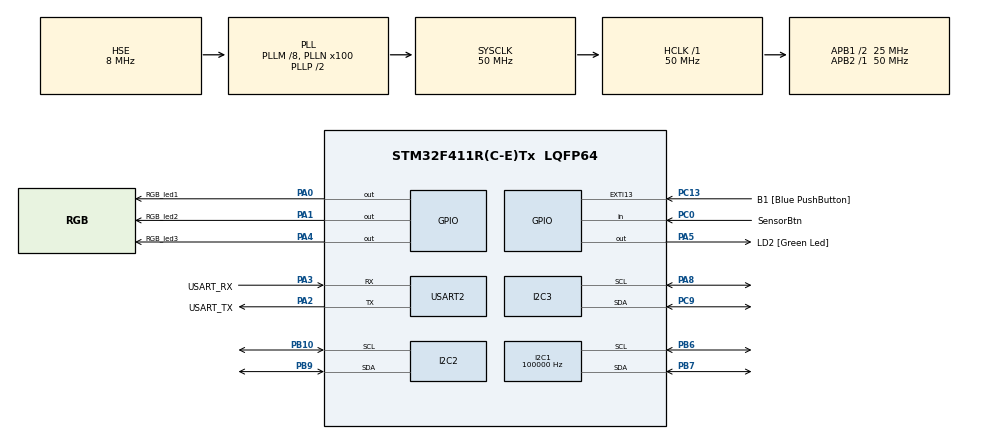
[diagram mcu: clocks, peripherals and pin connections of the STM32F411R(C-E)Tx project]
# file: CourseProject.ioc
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Dma.I2C1_RX.1.Direction=DMA_PERIPH_TO_MEMORY
Dma.I2C1_RX.1.FIFOMode=DMA_FIFOMODE_DISABLE
Dma.I2C1_RX.1.Instance=DMA1_Stream0
Dma.I2C1_RX.1.MemDataAlignment=DMA_MDATAALIGN_BYTE
Dma.I2C1_RX.1.MemInc=DMA_MINC_ENABLE
Dma.I2C1_RX.1.Mode=DMA_NORMAL
Dma.I2C1_RX.1.PeriphDataAlignment=DMA_PDATAALIGN_BYTE
Dma.I2C1_RX.1.PeriphInc=DMA_PINC_DISABLE
Dma.I2C1_RX.1.Priority=DMA_PRIORITY_LOW
Dma.I2C1_TX.0.Direction=DMA_MEMORY_TO_PERIPH
Dma.I2C1_TX.0.FIFOMode=DMA_FIFOMODE_DISABLE
Dma.I2C1_TX.0.Instance=DMA1_Stream1
Dma.I2C1_TX.0.MemDataAlignment=DMA_MDATAALIGN_BYTE
Dma.I2C1_TX.0.MemInc=DMA_MINC_ENABLE
Dma.I2C1_TX.0.Mode=DMA_NORMAL
Dma.I2C1_TX.0.PeriphDataAlignment=DMA_PDATAALIGN_BYTE
Dma.I2C1_TX.0.PeriphInc=DMA_PINC_DISABLE
Dma.I2C1_TX.0.Priority=DMA_PRIORITY_LOW
Dma.Request0=I2C1_TX
Dma.Request1=I2C1_RX
FREERTOS.INCLUDE_vTaskDelayUntil=1
FREERTOS.Tasks01=defaultTask,0,128,StartDefaultTask,Default,NULL,Dynamic,NULL,NULL;printLcdTask,0,128,StartLcdTask,Default,NULL,Dynamic,NULL,NULL;checkDataSensor,0,128,StartDataSensor,Default,NULL,Dynamic,NULL,NULL;myBtnTask,0,128,StartBtnTask,Default,NULL,Dynamic,NULL,NULL;myPrintTime,0,128,StartTimeTask,Default,NULL,Dynamic,NULL,NULL;myStatusTemp,0,128,StartStatusTemp,Default,NULL,Dynamic,NULL,NULL
I2C1.ClockSpeed=100000
Mcu.Family=STM32F4
Mcu.Name=STM32F411R(C-E)Tx
Mcu.Package=LQFP64
NVIC.DMA1_Stream0_IRQn=true\:5\:0\:false\:false\:true\:true\:false\:true
NVIC.DMA1_Stream1_IRQn=true\:5\:0\:false\:false\:true\:true\:false\:true
NVIC.I2C1_ER_IRQn=true\:5\:0\:false\:false\:true\:true\:true\:true
NVIC.I2C1_EV_IRQn=true\:5\:0\:false\:false\:true\:true\:true\:true
NVIC.PriorityGroup=NVIC_PRIORITYGROUP_4
PA0-WKUP.GPIO_Label=RGB_led1
PA0-WKUP.Signal=GPIO_Output
PA1.GPIO_Label=RGB_led2
PA1.Signal=GPIO_Output
PA13.GPIO_Label=TMS
PA13.Mode=Serial_Wire
PA13.Signal=SYS_JTMS-SWDIO
PA14.GPIO_Label=TCK
PA14.Mode=Serial_Wire
PA14.Signal=SYS_JTCK-SWCLK
PA2.GPIO_Label=USART_TX
PA2.Mode=Asynchronous
PA2.Signal=USART2_TX
PA3.GPIO_Label=USART_RX
PA3.Mode=Asynchronous
PA3.Signal=USART2_RX
PA4.GPIO_Label=RGB_led3
PA4.Signal=GPIO_Output
PA5.GPIO_Label=LD2 [Green Led]
PA5.Signal=GPIO_Output
PA8.Mode=I2C
PA8.Signal=I2C3_SCL
PB10.Mode=I2C
PB10.Signal=I2C2_SCL
PB3.GPIO_Label=SWO
PB3.Signal=SYS_JTDO-SWO
PB6.Mode=I2C
PB6.Signal=I2C1_SCL
PB7.Mode=I2C
PB7.Signal=I2C1_SDA
PB9.Mode=I2C
PB9.Signal=I2C2_SDA
PC0.GPIO_Label=SensorBtn
PC0.Signal=GPIO_Input
PC13-ANTI_TAMP.GPIO_Label=B1 [Blue PushButton]
PC13-ANTI_TAMP.GPIO_ModeDefaultEXTI=GPIO_MODE_IT_FALLING
PC13-ANTI_TAMP.Signal=GPXTI13
PC14-OSC32_IN.Signal=RCC_OSC32_IN
PC15-OSC32_OUT.Signal=RCC_OSC32_OUT
PC9.Mode=I2C
PC9.Signal=I2C3_SDA
PH0\ -\ OSC_IN.Mode=HSE-External-Oscillator
PH0\ -\ OSC_IN.Signal=RCC_OSC_IN
PH1\ -\ OSC_OUT.Mode=HSE-External-Oscillator
PH1\ -\ OSC_OUT.Signal=RCC_OSC_OUT
ProjectManager.HeapSize=0x200
ProjectManager.StackSize=0x400
ProjectManager.TargetToolchain=STM32CubeIDE
RCC.48MHZClocksFreq_Value=25000000
RCC.AHBFreq_Value=50000000
RCC.APB1CLKDivider=RCC_HCLK_DIV2
RCC.APB1Freq_Value=25000000
RCC.APB1TimFreq_Value=50000000
RCC.APB2Freq_Value=50000000
RCC.APB2TimFreq_Value=50000000
RCC.CortexFreq_Value=50000000
RCC.FLatency-AdvancedSettings=FLASH_LATENCY_1
RCC.HCLKFreq_Value=50000000
RCC.HSE_VALUE=8000000
RCC.HSI_VALUE=16000000
RCC.PLLM=8
RCC.PLLN=100
RCC.PLLSourceVirtual=RCC_PLLSOURCE_HSE
RCC.SYSCLKFreq_VALUE=50000000
RCC.SYSCLKSource=RCC_SYSCLKSOURCE_PLLCLK
RCC.VCOOutputFreq_Value=100000000
USART2.VirtualMode=VM_ASYNC
VP_FREERTOS_VS_CMSIS_V1.Mode=CMSIS_V1
board=NUCLEO-F411RE

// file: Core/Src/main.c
/* USER CODE BEGIN Header */
/**
  ******************************************************************************
  * @file           : main.c
  * @brief          : Main program body
  ******************************************************************************
  * @attention
  *
  * <h2><center>&copy; Copyright (c) 2020 STMicroelectronics.
  * All rights reserved.</center></h2>
  *
  * This software component is licensed by ST under BSD 3-Clause license,
  * the "License"; You may not use this file except in compliance with the
  * License. You may obtain a copy of the License at:
  *                        opensource.org/licenses/BSD-3-Clause
  *
  ******************************************************************************
  */
/* USER CODE END Header */

#include "main.h"
#include "cmsis_os.h"

/* USER CODE BEGIN Includes */
#include "stdio.h"
#include "stdlib.h"
#include "math.h"
#include "lcd_hd44780_i2c.h"
#include "DS3231.h"
#include "bmp280.h"
/* USER CODE END Includes */

I2C_HandleTypeDef hi2c1;
I2C_HandleTypeDef hi2c2;
I2C_HandleTypeDef hi2c3;
DMA_HandleTypeDef hdma_i2c1_tx;
DMA_HandleTypeDef hdma_i2c1_rx;

UART_HandleTypeDef huart2;

osThreadId defaultTaskHandle;
osThreadId printLcdTaskHandle;
osThreadId checkDataSensorHandle;
osThreadId myBtnTaskHandle;
osThreadId myPrintTimeHandle;
osThreadId myStatusTempHandle;
/* USER CODE BEGIN PV */
BMP280_HandleTypedef bmp280;

int fPartTemp;
int sPartTemp;
int fPartPressure;
int fHumidity;
int numTask = 0;

float pressure;
float temperature;
float humidity;
float MMPressure;

char buffer[15];
char TempFirstPart[] = "";
char TempSecondPart[] = "";
char PressureStr[] = "";
char HumidityStr[] = "";

uint8_t Data[256];
uint8_t bmeStr[] = "BME280";
uint8_t bmpStr[] = "BMP280";

uint16_t size;
/* USER CODE END PV */

void SystemClock_Config(void);
static void MX_GPIO_Init(void);
static void MX_DMA_Init(void);
static void MX_USART2_UART_Init(void);
static void MX_I2C1_Init(void);
static void MX_I2C2_Init(void);
static void MX_I2C3_Init(void);
void StartDefaultTask(void const * argument);
void StartLcdTask(void const * argument);
void StartDataSensor(void const * argument);
void StartBtnTask(void const * argument);
void StartTimeTask(void const * argument);
void StartStatusTemp(void const * argument);

/* USER CODE BEGIN PFP */
void initBME280(I2C_HandleTypeDef *i2c);
void checkBME280(void);
void convertData(void);
/* USER CODE END PFP */

int main(void)
{

  /* MCU Configuration--------------------------------------------------------*/

  /* Reset of all peripherals, Initializes the Flash interface and the Systick. */
  HAL_Init();

  /* Configure the system clock */
  SystemClock_Config();

  /* Initialize all configured peripherals */
  MX_GPIO_Init();
  MX_DMA_Init();
  MX_USART2_UART_Init();
  MX_I2C1_Init();
  MX_I2C2_Init();
  MX_I2C3_Init();
  /* USER CODE BEGIN 2 */

  /* Use if you want to change start time and date */
  /* setTime(20, 35, 14, 7, 31, 5, 20, &hi2c3); */

  /* USER CODE END 2 */

  /* Create the thread(s) */
  /* definition and creation of defaultTask */
  osThreadDef(defaultTask, StartDefaultTask, osPriorityNormal, 0, 128);
  defaultTaskHandle = osThreadCreate(osThread(defaultTask), NULL);

  /* definition and creation of printLcdTask */
  osThreadDef(printLcdTask, StartLcdTask, osPriorityNormal, 0, 128);
  printLcdTaskHandle = osThreadCreate(osThread(printLcdTask), NULL);

  /* definition and creation of checkDataSensor */
  osThreadDef(checkDataSensor, StartDataSensor, osPriorityNormal, 0, 128);
  checkDataSensorHandle = osThreadCreate(osThread(checkDataSensor), NULL);

  /* definition and creation of myBtnTask */
  osThreadDef(myBtnTask, StartBtnTask, osPriorityNormal, 0, 128);
  myBtnTaskHandle = osThreadCreate(osThread(myBtnTask), NULL);

  /* definition and creation of myPrintTime */
  osThreadDef(myPrintTime, StartTimeTask, osPriorityNormal, 0, 128);
  myPrintTimeHandle = osThreadCreate(osThread(myPrintTime), NULL);

  /* definition and creation of myStatusTemp */
  osThreadDef(myStatusTemp, StartStatusTemp, osPriorityNormal, 0, 128);
  myStatusTempHandle = osThreadCreate(osThread(myStatusTemp), NULL);

  /* USER CODE BEGIN RTOS_THREADS */
  /* add threads, ... */
  vTaskSuspend(myPrintTimeHandle);
  vTaskSuspend(checkDataSensorHandle);
  /* USER CODE END RTOS_THREADS */

  /* Start scheduler */
  osKernelStart();

  /* We should never get here as control is now taken by the scheduler */

  /* Infinite loop */
  while (1)
  {

  }
}

void SystemClock_Config(void)
{
  RCC_OscInitTypeDef RCC_OscInitStruct = {0};
  RCC_ClkInitTypeDef RCC_ClkInitStruct = {0};

  /** Configure the main internal regulator output voltage
  */
  __HAL_RCC_PWR_CLK_ENABLE();
  __HAL_PWR_VOLTAGESCALING_CONFIG(PWR_REGULATOR_VOLTAGE_SCALE1);
  /** Initializes the CPU, AHB and APB busses clocks
  */
  RCC_OscInitStruct.OscillatorType = RCC_OSCILLATORTYPE_HSE;
  RCC_OscInitStruct.HSEState = RCC_HSE_ON;
  RCC_OscInitStruct.PLL.PLLState = RCC_PLL_ON;
  RCC_OscInitStruct.PLL.PLLSource = RCC_PLLSOURCE_HSE;
  RCC_OscInitStruct.PLL.PLLM = 8;
  RCC_OscInitStruct.PLL.PLLN = 100;
  RCC_OscInitStruct.PLL.PLLP = RCC_PLLP_DIV2;
  RCC_OscInitStruct.PLL.PLLQ = 4;
  if (HAL_RCC_OscConfig(&RCC_OscInitStruct) != HAL_OK)
  {
    Error_Handler();
  }
  /** Initializes the CPU, AHB and APB busses clocks
  */
  RCC_ClkInitStruct.ClockType = RCC_CLOCKTYPE_HCLK|RCC_CLOCKTYPE_SYSCLK
                              |RCC_CLOCKTYPE_PCLK1|RCC_CLOCKTYPE_PCLK2;
  RCC_ClkInitStruct.SYSCLKSource = RCC_SYSCLKSOURCE_PLLCLK;
  RCC_ClkInitStruct.AHBCLKDivider = RCC_SYSCLK_DIV1;
  RCC_ClkInitStruct.APB1CLKDivider = RCC_HCLK_DIV2;
  RCC_ClkInitStruct.APB2CLKDivider = RCC_HCLK_DIV1;

  if (HAL_RCC_ClockConfig(&RCC_ClkInitStruct, FLASH_LATENCY_1) != HAL_OK)
  {
    Error_Handler();
  }
}

static void MX_I2C1_Init(void)
{

  hi2c1.Instance = I2C1;
  hi2c1.Init.ClockSpeed = 100000;
  hi2c1.Init.DutyCycle = I2C_DUTYCYCLE_2;
  hi2c1.Init.OwnAddress1 = 0;
  hi2c1.Init.AddressingMode = I2C_ADDRESSINGMODE_7BIT;
  hi2c1.Init.DualAddressMode = I2C_DUALADDRESS_DISABLE;
  hi2c1.Init.OwnAddress2 = 0;
  hi2c1.Init.GeneralCallMode = I2C_GENERALCALL_DISABLE;
  hi2c1.Init.NoStretchMode = I2C_NOSTRETCH_DISABLE;
  if (HAL_I2C_Init(&hi2c1) != HAL_OK)
  {
    Error_Handler();
  }

}

static void MX_I2C2_Init(void)
{

  hi2c2.Instance = I2C2;
  hi2c2.Init.ClockSpeed = 100000;
  hi2c2.Init.DutyCycle = I2C_DUTYCYCLE_2;
  hi2c2.Init.OwnAddress1 = 0;
  hi2c2.Init.AddressingMode = I2C_ADDRESSINGMODE_7BIT;
  hi2c2.Init.DualAddressMode = I2C_DUALADDRESS_DISABLE;
  hi2c2.Init.OwnAddress2 = 0;
  hi2c2.Init.GeneralCallMode = I2C_GENERALCALL_DISABLE;
  hi2c2.Init.NoStretchMode = I2C_NOSTRETCH_DISABLE;
  if (HAL_I2C_Init(&hi2c2) != HAL_OK)
  {
    Error_Handler();
  }

}

static void MX_I2C3_Init(void)
{

  hi2c3.Instance = I2C3;
  hi2c3.Init.ClockSpeed = 100000;
  hi2c3.Init.DutyCycle = I2C_DUTYCYCLE_2;
  hi2c3.Init.OwnAddress1 = 0;
  hi2c3.Init.AddressingMode = I2C_ADDRESSINGMODE_7BIT;
  hi2c3.Init.DualAddressMode = I2C_DUALADDRESS_DISABLE;
  hi2c3.Init.OwnAddress2 = 0;
  hi2c3.Init.GeneralCallMode = I2C_GENERALCALL_DISABLE;
  hi2c3.Init.NoStretchMode = I2C_NOSTRETCH_DISABLE;
  if (HAL_I2C_Init(&hi2c3) != HAL_OK)
  {
    Error_Handler();
  }

}

static void MX_USART2_UART_Init(void)
{

  huart2.Instance = USART2;
  huart2.Init.BaudRate = 115200;
  huart2.Init.WordLength = UART_WORDLENGTH_8B;
  huart2.Init.StopBits = UART_STOPBITS_1;
  huart2.Init.Parity = UART_PARITY_NONE;
  huart2.Init.Mode = UART_MODE_TX_RX;
  huart2.Init.HwFlowCtl = UART_HWCONTROL_NONE;
  huart2.Init.OverSampling = UART_OVERSAMPLING_16;
  if (HAL_UART_Init(&huart2) != HAL_OK)
  {
    Error_Handler();
  }

}

static void MX_DMA_Init(void)
{

  /* DMA controller clock enable */
  __HAL_RCC_DMA1_CLK_ENABLE();

  /* DMA interrupt init */
  /* DMA1_Stream0_IRQn interrupt configuration */
  HAL_NVIC_SetPriority(DMA1_Stream0_IRQn, 5, 0);
  HAL_NVIC_EnableIRQ(DMA1_Stream0_IRQn);
  /* DMA1_Stream1_IRQn interrupt configuration */
  HAL_NVIC_SetPriority(DMA1_Stream1_IRQn, 5, 0);
  HAL_NVIC_EnableIRQ(DMA1_Stream1_IRQn);

}

static void MX_GPIO_Init(void)
{
  GPIO_InitTypeDef GPIO_InitStruct = {0};

  /* GPIO Ports Clock Enable */
  __HAL_RCC_GPIOC_CLK_ENABLE();
  __HAL_RCC_GPIOH_CLK_ENABLE();
  __HAL_RCC_GPIOA_CLK_ENABLE();
  __HAL_RCC_GPIOB_CLK_ENABLE();

  /*Configure GPIO pin Output Level */
  HAL_GPIO_WritePin(GPIOA, RGB_led1_Pin|RGB_led2_Pin|RGB_led3_Pin|LD2_Pin, GPIO_PIN_RESET);

  /*Configure GPIO pin : B1_Pin */
  GPIO_InitStruct.Pin = B1_Pin;
  GPIO_InitStruct.Mode = GPIO_MODE_IT_FALLING;
  GPIO_InitStruct.Pull = GPIO_NOPULL;
  HAL_GPIO_Init(B1_GPIO_Port, &GPIO_InitStruct);

  /*Configure GPIO pin : SensorBtn_Pin */
  GPIO_InitStruct.Pin = SensorBtn_Pin;
  GPIO_InitStruct.Mode = GPIO_MODE_INPUT;
  GPIO_InitStruct.Pull = GPIO_NOPULL;
  HAL_GPIO_Init(SensorBtn_GPIO_Port, &GPIO_InitStruct);

  /*Configure GPIO pins : RGB_led1_Pin RGB_led2_Pin RGB_led3_Pin LD2_Pin */
  GPIO_InitStruct.Pin = RGB_led1_Pin|RGB_led2_Pin|RGB_led3_Pin|LD2_Pin;
  GPIO_InitStruct.Mode = GPIO_MODE_OUTPUT_PP;
  GPIO_InitStruct.Pull = GPIO_NOPULL;
  GPIO_InitStruct.Speed = GPIO_SPEED_FREQ_LOW;
  HAL_GPIO_Init(GPIOA, &GPIO_InitStruct);

}

/* USER CODE BEGIN 4 */
void initBME280(I2C_HandleTypeDef *i2c) {
	lcdInit(&hi2c1, (uint8_t)0x27, (uint8_t)4, (uint8_t)20);

	bmp280_init_default_params(&bmp280.params);
	bmp280.addr = BMP280_I2C_ADDRESS_0;
	bmp280.i2c = i2c;

    while (!bmp280_init(&bmp280, &bmp280.params))
    {
    	lcdSetCursorPosition(0, 0);
    	lcdPrintStr((uint8_t*)"BMP280 - failed", 15);
    	HAL_Delay(1000);
    	lcdDisplayClear();
	}

    bool bme280p = bmp280.id == BME280_CHIP_ID;

	lcdSetCursorPosition(0, 1);
	lcdPrintStr((uint8_t*)"Our sensor is ", 14);

	lcdSetCursorPosition(14, 1);
	lcdPrintStr((uint8_t*) bme280p ? bmeStr : bmpStr, 6);

    HAL_Delay(2000);
    lcdDisplayClear();
}

void checkBME280(void) {
	while(!bmp280_read_float(&bmp280, &temperature, &pressure, &humidity))
	{
		lcdSetCursorPosition(0, 1);
		lcdPrintStr((uint8_t*) "Read data - failed!", 18);
		lcdSetCursorPosition(0, 2);
		lcdPrintStr((uint8_t*) "Check connection!", 17);
		HAL_Delay(1000);
		lcdDisplayClear();
	}

	fPartTemp = (int) temperature;
	sPartTemp = (temperature - fPartTemp) * 1000;

	MMPressure = pressure / 133;
	fPartPressure = (int) MMPressure;

	fHumidity = (int) humidity;
}

void convertData(void) {
	itoa(fPartTemp, TempFirstPart, 10);
	itoa(sPartTemp, TempSecondPart, 10);
	itoa(fPartPressure, PressureStr, 10);
	itoa(fHumidity, HumidityStr, 10);
}
/* USER CODE END 4 */

void StartDefaultTask(void const * argument)
{
  /* USER CODE BEGIN 5 */

  for(;;)
  {
	  checkBME280();
	  vTaskDelay(1000);
  }

  osThreadTerminate(NULL);
  /* USER CODE END 5 */
}

void StartLcdTask(void const * argument)
{
  /* USER CODE BEGIN StartLcdTask */
  lcdInit(&hi2c1, (uint8_t)0x27, (uint8_t)4, (uint8_t)20);

  initBME280(&hi2c2);

  for(;;)
  {
	  getTime(&hi2c3);
	  convertData();

	  lcdDisplayClear();

	  lcdSetCursorPosition(0, 0);
	  lcdPrintStr((uint8_t*) "Hello, dear user!" , 17);

	  lcdSetCursorPosition(0, 1);
	  lcdPrintStr((uint8_t*) "Today's ", 8);

	  sprintf(buffer, "%02d", time.dayofmonth);
	  lcdSetCursorPosition(8, 1);
	  lcdPrintStr((uint8_t*)buffer, 2);

	  lcdSetCursorPosition(11, 1);
	  switch(time.month) {
	  case 1:
		  lcdPrintStr((uint8_t*) "January", 7);
		  break;
	  case 2:
		  lcdPrintStr((uint8_t*) "February", 8);
		  break;
	  case 3:
		  lcdPrintStr((uint8_t*) "March", 5);
		  break;
	  case 4:
		  lcdPrintStr((uint8_t*) "April", 5);
		  break;
	  case 5:
		  lcdPrintStr((uint8_t*) "May", 3);
		  break;
	  case 6:
		  lcdPrintStr((uint8_t*) "June", 4);
		  break;
	  case 7:
		  lcdPrintStr((uint8_t*) "July", 4);
		  break;
	  case 8:
		  lcdPrintStr((uint8_t*) "August", 6);
		  break;
	  case 9:
		  lcdPrintStr((uint8_t*) "September", 9);
		  break;
	  case 10:
		  lcdPrintStr((uint8_t*) "October", 7);
		  break;
	  case 11:
		  lcdPrintStr((uint8_t*) "November", 8);
		  break;
	  case 12:
		  lcdPrintStr((uint8_t*) "December", 8);
		  break;
	  }

	  lcdSetCursorPosition(0, 2);
	  lcdPrintStr((uint8_t*) "Temperature: ", 13);

	  lcdSetCursorPosition(13, 2);
	  lcdPrintStr((uint8_t*) TempFirstPart, 2);

	  lcdSetCursorPosition(16, 2);
	  lcdPrintStr((uint8_t*) "C", 1);

	  lcdSetCursorPosition(0, 3);
	  lcdPrintStr((uint8_t*) "Time: ", 6);

	  sprintf(buffer, "%02d:%02d", time.hour, time.minutes);
	  lcdSetCursorPosition(6, 3);
	  lcdPrintStr((uint8_t*)buffer, 5);

	  HAL_Delay(2000);

	  vTaskDelay(100);
  }

  osThreadTerminate(NULL);
  /* USER CODE END StartLcdTask */
}

void StartDataSensor(void const * argument)
{
  /* USER CODE BEGIN StartDataSensor */
  lcdInit(&hi2c1, (uint8_t)0x27, (uint8_t)4, (uint8_t)20);

  for(;;) {

	  lcdDisplayClear();

	  convertData();

	  lcdSetCursorPosition(0, 0);
	  lcdPrintStr((uint8_t*)"Sensor data:", 12);

	  lcdSetCursorPosition(0, 1);
	  lcdPrintStr((uint8_t*) "Humidity = ", 11);

	  lcdSetCursorPosition(11, 1);
	  lcdPrintStr((uint8_t*) HumidityStr, 2);

	  lcdSetCursorPosition(14, 1);
	  lcdPrintStr((uint8_t*) "%", 1);

	  lcdSetCursorPosition(0, 2);
	  lcdPrintStr((uint8_t*) "Pressure = ", 11);

	  lcdSetCursorPosition(11, 2);
	  lcdPrintStr((uint8_t*) PressureStr, 3);

	  lcdSetCursorPosition(15, 2);
	  lcdPrintStr((uint8_t*) "mmHg", 4);

	  lcdSetCursorPosition(0, 3);
	  lcdPrintStr((uint8_t*)"Temp = ", 7);

	  sprintf(buffer, "%02d", fPartTemp);
	  lcdSetCursorPosition(7, 3);
	  lcdPrintStr((uint8_t*)buffer, 2);

	  lcdSetCursorPosition(9, 3);
	  lcdPrintStr((uint8_t*)".", 1);

	  sprintf(buffer, "%02d", sPartTemp);
	  lcdSetCursorPosition(10, 3);
	  lcdPrintStr((uint8_t*)buffer, 2);

	  lcdSetCursorPosition(13, 3);
	  lcdPrintStr((uint8_t*)"Celsius", 7);

	  osDelay(1000);
  }

  osThreadTerminate(NULL);
  /* USER CODE END StartDataSensor */
}

void StartBtnTask(void const * argument)
{
  /* USER CODE BEGIN StartBtnTask */
  for(;;)
  {
	  if(HAL_GPIO_ReadPin(SensorBtn_GPIO_Port, SensorBtn_Pin) == GPIO_PIN_SET)
	  {
		  osDelay(100);

		  if(numTask == 3)
		  {
			  numTask = 0;
		  }

		  if(numTask == 0)
		  {
			osThreadSuspend(printLcdTaskHandle);
			osThreadSuspend(myPrintTimeHandle);
			lcdDisplayClear();
			osThreadResume(checkDataSensorHandle);
			numTask++;
		  }
		  else if(numTask == 1)
		  {
			osThreadSuspend(checkDataSensorHandle);
			osThreadSuspend(printLcdTaskHandle);
			lcdDisplayClear();
			osThreadResume(myPrintTimeHandle);
			numTask++;
		  }
		  else if(numTask == 2)
		  {
			osThreadSuspend(checkDataSensorHandle);
			osThreadSuspend(myPrintTimeHandle);
			lcdDisplayClear();
			osThreadResume(printLcdTaskHandle);
			numTask++;
		  }
	  }
	  osDelay(100);
  }
  osThreadTerminate(NULL);
  /* USER CODE END StartBtnTask */
}

void StartTimeTask(void const * argument)
{
  /* USER CODE BEGIN StartTimeTask */
  lcdInit(&hi2c1, (uint8_t)0x27, (uint8_t)4, (uint8_t)20);

  for(;;)
  {
	  lcdDisplayClear();

	  getTime(&hi2c3);

	  lcdSetCursorPosition(0, 0);
	  lcdPrintStr((uint8_t*)"Your time: ", 11);

	  sprintf(buffer, "%02d:%02d:%02d", time.hour, time.minutes, time.seconds);
	  lcdSetCursorPosition(11, 0);
	  lcdPrintStr((uint8_t*)buffer, 8);

	  lcdSetCursorPosition(0, 2);
	  lcdPrintStr((uint8_t*)"Date: ", 6);

	  sprintf(buffer, "%02d-%02d-20%02d", time.dayofmonth, time.month, time.year);
	  lcdSetCursorPosition(6, 2);
	  lcdPrintStr((uint8_t*)buffer, 10);

	  HAL_Delay(1000);
	}

  osThreadTerminate(NULL);
  /* USER CODE END StartTimeTask */
}

void StartStatusTemp(void const * argument)
{
  /* USER CODE BEGIN StartStatusTemp */
  for(;;)
  {
	  if(temperature >= 18 && temperature <= 20)
	  {
		  HAL_GPIO_WritePin(GPIOA, RGB_led2_Pin, GPIO_PIN_RESET);
		  HAL_GPIO_WritePin(GPIOA, RGB_led1_Pin, GPIO_PIN_SET);
		  HAL_GPIO_WritePin(GPIOA, RGB_led3_Pin, GPIO_PIN_SET);
	  }
	  else if(temperature >= 21 && temperature <= 24)
	  {
		  HAL_GPIO_WritePin(GPIOA, RGB_led2_Pin, GPIO_PIN_SET);
		  HAL_GPIO_WritePin(GPIOA, RGB_led1_Pin, GPIO_PIN_RESET);
		  HAL_GPIO_WritePin(GPIOA, RGB_led3_Pin, GPIO_PIN_RESET);
	  }
	  else
	  {
		  HAL_GPIO_WritePin(GPIOA, RGB_led2_Pin, GPIO_PIN_RESET);
		  HAL_GPIO_WritePin(GPIOA, RGB_led1_Pin, GPIO_PIN_SET);
		  HAL_GPIO_WritePin(GPIOA, RGB_led3_Pin, GPIO_PIN_RESET);
	  }

      vTaskDelay(1000);
  }
  osThreadTerminate(NULL);
  /* USER CODE END StartStatusTemp */
}

void Error_Handler(void)
{
}

/************************ (C) COPYRIGHT STMicroelectronics *****END OF FILE****/
